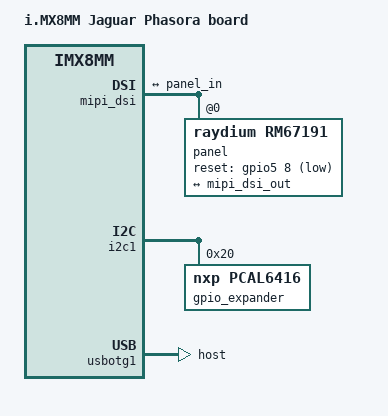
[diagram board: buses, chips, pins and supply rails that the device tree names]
// SPDX-License-Identifier: (GPL-2.0+ OR MIT)
/*
 * Copyright 2019 NXP
 */

#include "freescale/imx8mm-evkb.dts"
#include <dt-bindings/gpio/gpio.h>
#include <dt-bindings/leds/common.h>

/ {
	model = "i.MX8MM Jaguar Phasora board";
	compatible = "fsl,imx8mm-evk", "fsl,imx8mm";

	reserved-memory {
		#address-cells = <2>;
		#size-cells = <2>;
		ranges;

		m4_reserved: m4@0x80000000 {
			no-map;
			reg = <0 0x80000000 0 0x1000000>;
		};

		vdev0vring0: vdev0vring0@b8000000 {
			reg = <0 0xb8000000 0 0x8000>;
			no-map;
		};

		vdev0vring1: vdev0vring1@b8008000 {
			reg = <0 0xb8008000 0 0x8000>;
			no-map;
		};

		rsc_table: rsc_table@b80ff000 {
			reg = <0 0xb80ff000 0 0x1000>;
			no-map;
		};

		vdevbuffer: vdevbuffer@b8400000 {
			compatible = "shared-dma-pool";
			reg = <0 0xb8400000 0 0x100000>;
			no-map;
		};
	};

	bt_sco_codec: bt_sco_codec {
		status = "disabled";
	};

	sound-bt-sco {
		status = "disabled";
	};

	sound-wm8524 {
		status = "disabled";
	};

	wm8524: audio-codec {
		status = "disabled";
	};

	rpmsg_audio: rpmsg_audio {
		compatible = "fsl,imx8mm-rpmsg-audio";
		model = "ak4497-audio";
		fsl,enable-lpa;
		fsl,rpmsg-out;
		clocks = <&clk IMX8MM_CLK_SAI1_IPG>,
			 <&clk IMX8MM_CLK_SAI1_ROOT>,
			 <&clk IMX8MM_CLK_SDMA3_ROOT>,
			 <&clk IMX8MM_AUDIO_PLL1_OUT>,
			 <&clk IMX8MM_AUDIO_PLL2_OUT>;
		clock-names = "ipg", "mclk", "dma", "pll8k", "pll11k";
		status = "okay";
	};

	imx8mm-cm4 {
		compatible = "fsl,imx8mm-cm4";
		rsc-da = <0xb8000000>;
		clocks = <&clk IMX8MM_CLK_M4_DIV>;
		mbox-names = "tx", "rx", "rxdb";
		mboxes = <&mu 0 1
			  &mu 1 1
			  &mu 3 1>;
		memory-region = <&vdevbuffer>, <&vdev0vring0>, <&vdev0vring1>, <&rsc_table>;
		syscon = <&src>;
	};
};

//&ethernet0 {
//	status = "okay";
//	pinctrl-0 = <&ethernet0_rgmii_pins_a>;
//	pinctrl-1 = <&ethernet0_rgmii_pins_sleep_a>;
//	pinctrl-names = "default", "sleep";
//	phy-mode = "rgmii";
//	max-speed = <1000>;
//	phy-handle = <&phy0>;
//
//	mdio0 {
//		#address-cells = <1>;
//		#size-cells = <0>;
//		compatible = "snps,dwmac-mdio";
//		phy0: ethernet-phy@1 {
//			reg = <1>;
//		};
//	};
//};

&iomuxc {
	pinctrl_uart1: uart1grp {
		fsl,pins = <
			MX8MM_IOMUXC_UART1_RXD_UART1_DCE_RX     0x140
			MX8MM_IOMUXC_UART1_TXD_UART1_DCE_TX     0x140
			MX8MM_IOMUXC_UART3_RXD_UART1_DCE_CTS_B  0x140
			MX8MM_IOMUXC_UART3_TXD_UART1_DCE_RTS_B  0x140
			MX8MM_IOMUXC_SD1_DATA4_GPIO2_IO6        0x19
		>;
	};
};

&uart1 { /* BT */
	bluetooth {
		compatible = "qcom,qca9377-bt";
		enable-gpios = <&gpio2 6 GPIO_ACTIVE_HIGH>;
              status = "disabled";
	};
};

&mipi_dsi {
	#address-cells = <1>;
	#size-cells = <0>;
	status = "okay";

	panel@0 {
		pinctrl-0 = <&pinctrl_mipi_dsi_en>;
		pinctrl-names = "default";
		compatible = "raydium,rm67191";
		reg = <0>;
		reset-gpios = <&gpio5 8 GPIO_ACTIVE_LOW>;
		dsi-lanes = <4>;

		port {
			panel_in: endpoint {
				remote-endpoint = <&mipi_dsi_out>;
			};
		};
	};

	ports {
		port@1 {
			reg = <1>;
			mipi_dsi_out: endpoint {
				remote-endpoint = <&panel_in>;
			};
		};
	};
};

//&mipi_dsi {
//	status = "disabled";

//        /delete-node/ ports;

//	panel@0 {
//                compatible = "techstar,ts8550b";
//		reg = <0>;
//                pinctrl-0 = <&pinctrl_mipi_dsi_en>;
//                reset-gpio = <&gpio1 8 GPIO_ACTIVE_HIGH>;
//		dsi-lanes = <2>;
//                video-mode = <2>;       /* 0: burst mode
//                                         * 1: non-burst mode with sync event
//                                         * 2: non-burst mode with sync pulse
//                                         * 3: command mode
//                                         */
//                panel-width-mm = <36>;
//                panel-height-mm = <65>;

//		port {
//			panel1_in: endpoint {
//				remote-endpoint = <&mipi_bridge1_out>;
//			};
//		};
//	};
//	port@2 {
//		mipi_bridge1_out: endpoint {
//			remote-endpoint = <&panel1_in>;
//		};
//	};
//};

//leds {
//	compatible = "gpio-leds";
//	heartbeat {
//              label = "heartbeat"
//		gpios = <&gpio_expander 0 GPIO_ACTIVE_HIGH>;
//		linux,default-trigger = "heartbeat";
//		function = LED_FUNCTION_HEARTBEAT;
//	};
//};

&i2c1 {
	gpio_expander@20 {
		compatible = "nxp,pcal6416";
		reg = <0x20>;
		gpio-controller;
		#gpio-cells = <2>;
		status = "ok";

//		red-led-hog {
//			gpio-hog;
//			gpios = <0 GPIO_ACTIVE_HIGH>;
//			output-high;
//			line-name = "red-led";
//      	};
//		adci-fpga-hog {
//			gpio-hog;
//			gpios = <1 GPIO_ACTIVE_LOW>;
//			output-high;
//			line-name = "adci-fpga";
//	      	};
//		ssd-pwr-en-hog {
//			gpio-hog;
//			gpios = <2 GPIO_ACTIVE_HIGH>;
//			output-high;
//			line-name = "ssd-pwr-en";
//      	};
//		wifi-pwr-en-hog {
//			gpio-hog;
//			gpios = <3 GPIO_ACTIVE_HIGH>;
//			output-high;
//			line-name = "wifi-pwr-en";
//        	};
//		cell1-rst-hog {
//			gpio-hog;
//			gpios = <4 GPIO_ACTIVE_LOW>;
//			output-low;
//			line-name = "cell1-rst";
//      	};
//		cell1-pwr-en-hog {
//			gpio-hog;
//			gpios = <5 GPIO_ACTIVE_HIGH>;
//			output-high;
//			line-name = "cell1-pwr-en";
//      	};
//		cell2-rst-hog {
//			gpio-hog;
//			gpios = <6 GPIO_ACTIVE_LOW>;
//			output-low;
//			line-name = "cell2-rst";
//      	};
//		cell2-pwr-en-hog {
//			gpio-hog;
//			gpios = <7 GPIO_ACTIVE_HIGH>;
//			output-high;
//			line-name = "cell2-pwr-en";
//        	};
	};
};

//&i2c2 { 
//        clock_frequency = <100000>;
//        pinctrl-names = "default";
//        pinctrl-0 = <&pinctrl_i2c2>;
//        status = "disabled";
//
//	/delete-node/ hdmi;
//
//        polytouch: edt-ft5x06@38 {
//                compatible = "edt,edt-ft5406", "edt,edt-ft5x06";
//                reg = <0x38>;
//                pinctrl-names = "default";
//                pinctrl-0 = <&pinctrl_i2c2_synaptics_dsx_io>;
//                interrupt-parent = <&gpio1>;
//                interrupts = <9 IRQ_TYPE_LEVEL_LOW>;
//
//                touchscreen-size-x = <360>;
//                touchscreen-size-y = <640>;
//        };
//};

&i2c3 {
	status = "disabled";
};

/*
 * ATTENTION: M4 may use IPs like below
 * ECSPI0/ECSPI2, GPIO1/GPIO5, GPT1, I2C3, I2S3, WDOG1, UART4, PWM3, SDMA1
 */

&uart4 {
	status = "disabled";
};

&sdma3 {
	status = "disabled";
};

&sai1 {
	status = "disabled";
};

&sai2 {
	status = "disabled";
};

&sai3 {
	status = "disabled";
};

&flexspi {
	status = "disabled";
};

// USB-C port
&usbotg1 {
        dr_mode = "host";
        status = "okay";
};
